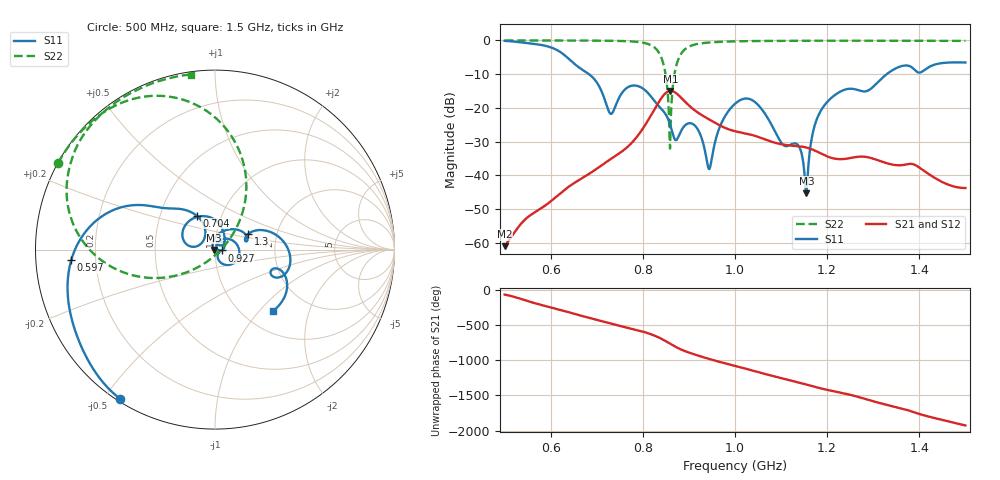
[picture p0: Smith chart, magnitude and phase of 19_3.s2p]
! TOUCHSTONE file generated by CST MICROWAVE STUDIO
! Date and time: Fri Oct 30 07:55:22 2020
! Project name: Scenario_1_Circular_Tissue_out_of_Line.cst
! Parameters = {dy1=-33.862; L_HA=400; MT=2.54; Rad_Dielectric=30; Rad_Lower=7.3; Rad_Upper=30; a_HA=580; a_WG=246; b_HA=500; b_WG=121; c_HA=0; c_WG=187; d_feed=85; dx1=520; h_feed=15; h_lower=18; h_upper=40}
! Header version: 2018
! Port assignment regex: !\s*Touchstone port\s*([0-9]+)\s*=\s*(CST MWS port|CST DS port)\s*([0-9]+|Zmin|Zmax)\s*\(\"(.*)\"\)(\s*mode\s*([0-9]+))?.*
! Touchstone port assignment:
! Touchstone port 1 = CST MWS port 1 ("")
! Touchstone port 2 = CST MWS port 2 ("")
# GHz S DB R 50
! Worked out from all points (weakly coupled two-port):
!   1001 points, 500 MHz to 1.5 GHz, reference 50 ohm
!   highest |S21| = -14.96 dB at 860 MHz (marker M1); lowest = -61.0 dB at 500 MHz (marker M2)
!   lowest |S11| = -45.3 dB at 1.155 GHz (marker M3), VSWR 1.01, Z = 49.5 - j0.221 ohm
!   |S11| at or under -10 dB: 683.1 MHz to 1.329 GHz (646.2 MHz wide, 64.2 % of centre)
!   |S22| runs from -32.1 to 0.0 dB; largest |S21 - S12| = 8.5e-05
!   S11 on the Smith chart (normalised r, x): 500 MHz: 0.01, -0.55; 597 MHz: 0.11, -0.04; 704 MHz: 0.76, +0.30; 927 MHz: 1.08, -0.01; 1.3 GHz: 1.43, +0.26; 1.5 GHz: 1.35, -1.19
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0.5  -0.13 -122.5  -61.01 -59.8  -61.01 -59.8  -0.01 151.1
0.597  -1.91 -175.8  -48.04 122.5  -48.04 122.5  -0.02 144.4
0.667  -8.54 141.6  -40.95 -3.7  -40.95 -3.7  -0.04 138.4
0.704  -13.32 118.5  -37.67 -67.4  -37.67 -67.4  -0.07 134.4
0.73  -21.77 142.8  -35.20 -113.0  -35.20 -113.0  -0.11 130.9
0.777  -13.40 140.8  -30.20 170.2  -30.20 170.2  -0.31 121.2
0.834  -19.41 64.3  -18.40 49.2  -18.40 49.2  -3.44 84.5
0.86  -25.35 33.3  -14.96 -45.1  -14.96 -45.1  -26.41 -108.9
0.879  -27.99 65.3  -16.44 -112.3  -16.44 -112.3  -4.97 -169.0
0.927  -28.74 -7.2  -22.07 134.6  -22.07 134.6  -0.85 155.4
0.945  -38.00 38.4  -23.51 99.1  -23.51 99.1  -0.60 150.2
0.968  -25.31 64.4  -25.25 56.6  -25.25 56.6  -0.42 145.3
1  -18.79 23.3  -26.92 2.4  -26.92 2.4  -0.27 140.3
1.04  -17.93 -37.7  -28.16 -68.8  -28.16 -68.8  -0.19 135.5
1.104  -30.89 -52.7  -30.87 -177.1  -30.87 -177.1  -0.12 129.4
1.136  -30.91 -35.3  -31.33 130.1  -31.33 130.1  -0.11 126.7
1.155  -45.33 -155.6  -31.75 96.1  -31.75 96.1  -0.10 125.2
1.167  -28.65 110.1  -32.29 74.3  -32.29 74.3  -0.09 124.3
1.211  -16.81 51.8  -34.89 4.7  -34.89 4.7  -0.08 120.8
1.3  -13.72 25.4  -35.07 -142.8  -35.07 -142.8  -0.09 114.1
1.334  -9.52 16.1  -36.59 158.6  -36.59 158.6  -0.08 111.5
1.5  -6.54 -46.6  -43.77 -127.7  -43.88 -127.8  -0.13 97.9
